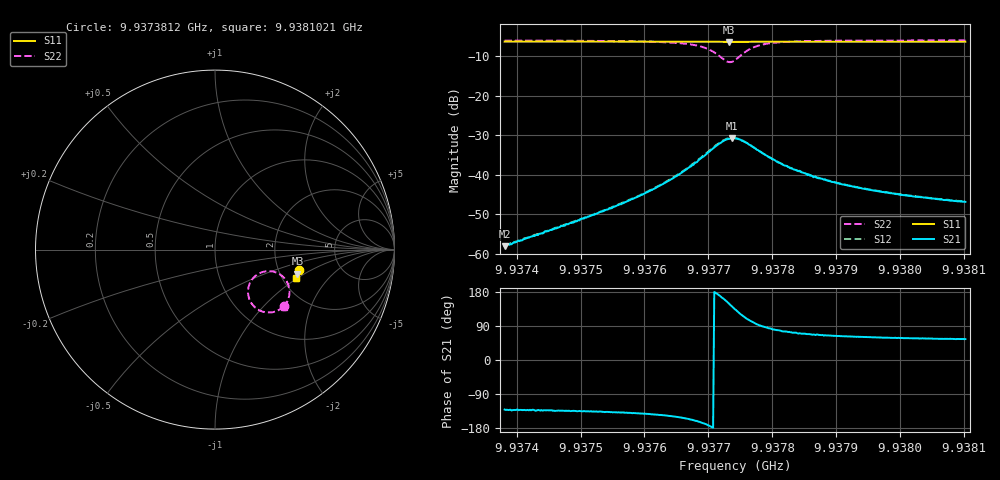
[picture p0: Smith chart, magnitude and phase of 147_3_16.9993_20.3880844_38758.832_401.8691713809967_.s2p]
#  HZ  S  RI  R  50.00
! Rohde & Schwarz Vector Network Analyzer
! Rohde-Schwarz,ZNB20-2Port,1311601062101988,3.16
! Created: UTC 3/20/2024, 10:58:42 PM
! freq[Hz]  re:S11  im:S11  re:S21  im:S21  re:S12  im:S12  re:S22  im:S22
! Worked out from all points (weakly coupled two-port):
!   401 points, 9.9373812 GHz to 9.9381021 GHz, reference 50 ohm
!   highest |S21| = -30.71 dB at 9.9377362 GHz (marker M1); lowest = -58.0 dB at 9.9373812 GHz (marker M2)
!   lowest |S11| = -6.4 dB at 9.9377326 GHz (marker M3), VSWR 2.83, Z = 124 - j43 ohm
!   |S11| at or under -10 dB: nowhere
!   |S22| runs from -11.5 to -6.0 dB; largest |S21 - S12| = 0.0014
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9.9373812e9  0.47 -0.1115  -0.000819 -0.00095  -0.000839 -0.000973  0.3831 -0.3166
9.93744247e9  0.4688 -0.1157  -0.00126 -0.00137  -0.00128 -0.00135  0.3764 -0.3225
9.93750194e9  0.4674 -0.1198  -0.00197 -0.00197  -0.00201 -0.00196  0.3674 -0.3291
9.93756682e9  0.4658 -0.1243  -0.00328 -0.00291  -0.00342 -0.0029  0.3522 -0.3381
9.93762269e9  0.4643 -0.128  -0.00591 -0.00412  -0.00603 -0.00411  0.3271 -0.3472
9.93766053e9  0.4631 -0.1309  -0.00975 -0.00499  -0.0101 -0.00492  0.2928 -0.3506
9.93768036e9  0.4622 -0.1322  -0.0135 -0.00475  -0.014 -0.00458  0.2621 -0.3445
9.93769477e9  0.4614 -0.133  -0.0173 -0.00352  -0.0181 -0.00311  0.2316 -0.3287
9.93770739e9  0.4605 -0.1336  -0.0216 -0.000426  -0.0222 0.000216  0.2021 -0.2976
9.9377182e9  0.4597 -0.1337  -0.0246 0.00475  -0.0251 0.00577  0.1849 -0.2508
9.93772721e9  0.4593 -0.1337  -0.0255 0.011  -0.0254 0.0123  0.1896 -0.1998
9.93773262e9  0.4591 -0.1334  -0.0241 0.015  -0.0242 0.0162  0.2045 -0.1693
9.93773622e9  0.4593 -0.1334  -0.0232 0.0177  -0.0227 0.0188  0.2197 -0.1519
9.93774163e9  0.4595 -0.1333  -0.02 0.0209  -0.0195 0.0219  0.2476 -0.1318
9.93775064e9  0.4598 -0.1334  -0.0141 0.0239  -0.0133 0.0245  0.2994 -0.1197
9.93776326e9  0.4604 -0.1343  -0.00648 0.0233  -0.00588 0.0238  0.3572 -0.1352
9.93778308e9  0.4608 -0.1358  0.000188 0.0191  0.000622 0.0192  0.4009 -0.1799
9.93781552e9  0.4607 -0.1385  0.00336 0.0131  0.00342 0.0133  0.4152 -0.2319
9.93786238e9  0.4596 -0.1421  0.00381 0.00889  0.00381 0.00881  0.4105 -0.2689
9.93790743e9  0.4584 -0.1453  0.00349 0.00683  0.00367 0.00678  0.4037 -0.2871
9.93798312e9  0.4566 -0.1502  0.00304 0.00504  0.00315 0.00502  0.3941 -0.304
9.93810207e9  0.4537 -0.158  0.00261 0.00374  0.00269 0.00375  0.3824 -0.3192
